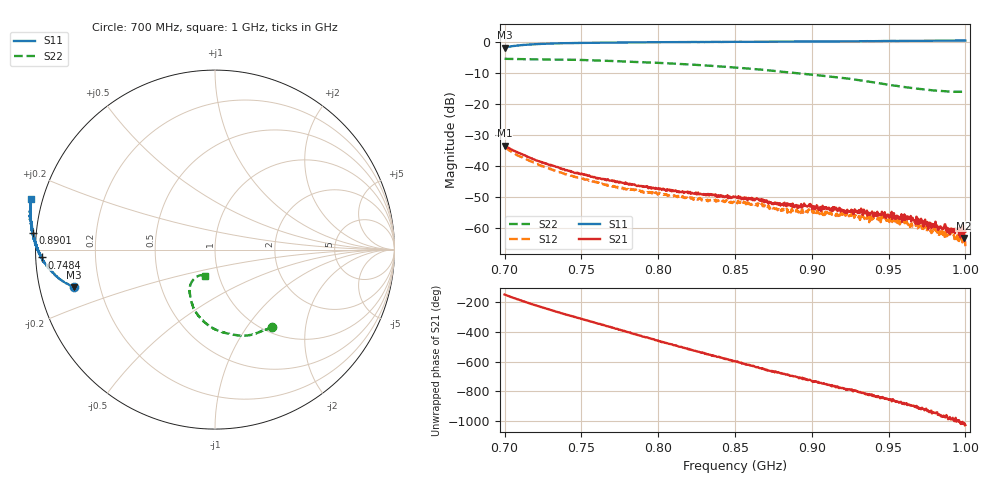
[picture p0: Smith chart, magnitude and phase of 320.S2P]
! C:\Users\rflab\Downloads\Lab5_KD_ZW\Q2\728 MHz\320.S2P
! Touchstone 1.1 file saved by VNA.EXE V1.65 (www.ke5fx.com/gpib/readme.htm)
! 11/18/2024 9:30:27 PM
!  Source: HEWLETT PACKARD,8753D,0,6.14
!  Min freq: 7.000000E+008 Hz
!  Max freq: 1.000000E+009 Hz
!  Points: 801
!  Params: S11 S21 S12 S22
# GHZ S MA R 50
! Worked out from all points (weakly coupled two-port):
!   801 points, 700 MHz to 1 GHz, reference 50 ohm
!   highest |S21| = -33.50 dB at 700 MHz (marker M1); lowest = -63.4 dB at 998.9 MHz (marker M2)
!   lowest |S11| = -1.8 dB at 700 MHz (marker M3), VSWR 9.78, Z = 5.2 - j6.46 ohm
!   |S11| at or under -10 dB: nowhere
!   |S22| runs from -16.1 to -5.4 dB; largest |S21 - S12| = 0.0066
!   S11 on the Smith chart (normalised r, x): 700 MHz: 0.10, -0.13; 748.4 MHz: 0.02, -0.02; 890.1 MHz: -0.01, +0.05; 1 GHz: -0.03, +0.13
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0.7  0.8144 -165.1  0.02114 -151.4  0.01979 -169.5  0.5365 -53.7
0.72025  0.9261 -173.2  0.01233 136.7  0.01082 116.2  0.5245 -59.0
0.748375  0.9676 -177.4  0.007511 50.5  0.006345 31.2  0.5155 -67.3
0.75025  0.9703 -177.5  0.007462 44.1  0.006144 25.0  0.5134 -68.0
0.773875  0.9832 -179.5  0.005523 -24.4  0.004341 -42.0  0.4903 -76.2
0.800125  0.9955 179.0  0.004347 -101.0  0.003481 -118.9  0.4612 -85.2
0.85  1.012 176.5  0.003156 121.9  0.002549 109.4  0.387 -102.5
0.890125  1.02 174.7  0.002242 17.3  0.001966 1.9  0.3147 -114.8
0.90025  1.023 174.3  0.002006 -11.3  0.001826 -26.0  0.2963 -117.5
0.92125  1.03 173.3  0.001893 -60.4  0.001749 -76.6  0.2607 -122.7
0.932875  1.034 172.1  0.001787 -89.3  0.001492 -102.0  0.2378 -125.0
0.950125  1.045 170.8  0.001602 -136.6  0.001544 -147.7  0.2042 -125.7
0.964  1.048 169.8  0.001414 -170.9  0.001016 167.0  0.182 -123.9
0.97225  1.048 169.0  0.001221 163.4  0.001129 143.1  0.1724 -122.0
0.9775  1.053 168.3  0.001165 150.0  0.000909 124.1  0.1669 -120.4
0.980875  1.051 168.1  0.001055 137.0  0.000882 118.3  0.1638 -119.4
0.9865  1.055 167.0  0.001117 110.1  0.000707 88.8  0.16 -117.1
0.989875  1.057 166.5  0.000774 108.0  0.000787 91.0  0.1583 -115.7
0.994375  1.059 165.8  0.0009 88.9  0.000675 70.6  0.1571 -113.6
0.998125  1.061 164.9  0.000888 76.1  0.000574 55.7  0.1572 -111.9
0.998875  1.061 164.8  0.000677 62.9  0.000651 49.7  0.1575 -111.6
1  1.061 164.7  0.000858 54.4  0.000499 39.9  0.1578 -111.1
